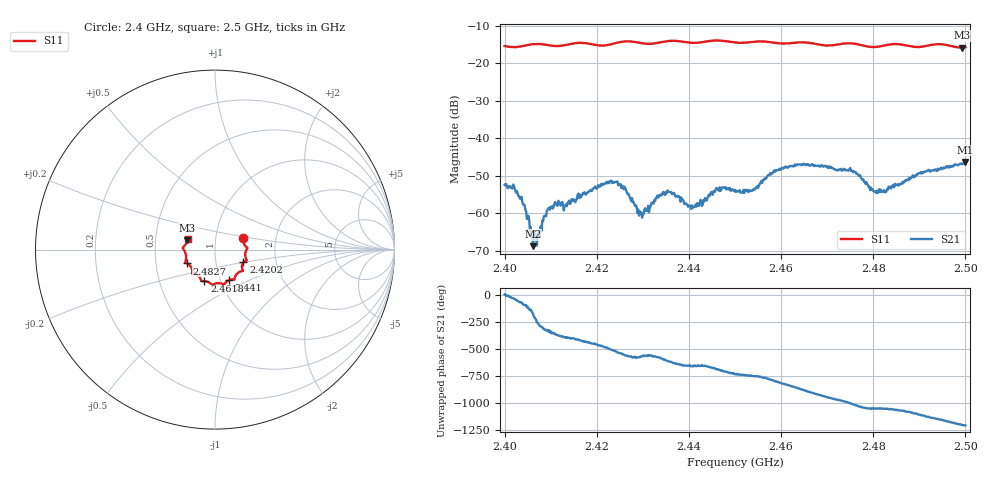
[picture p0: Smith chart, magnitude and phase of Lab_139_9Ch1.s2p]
# Hz S RI R 50
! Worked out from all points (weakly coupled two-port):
!   601 points, 2.4 GHz to 2.5 GHz, reference 50 ohm
!   highest |S21| = -46.31 dB at 2.5 GHz (marker M1); lowest = -68.8 dB at 2.4062 GHz (marker M2)
!   lowest |S11| = -15.8 dB at 2.4993 GHz (marker M3), VSWR 1.39, Z = 36.5 + j3.86 ohm
!   |S11| at or under -10 dB: start of sweep to end of sweep
!   S12 and S22 are empty: the file has one direction only
!   S11 on the Smith chart (normalised r, x): 2.4 GHz: 1.36, +0.18; 2.4202 GHz: 1.36, -0.20; 2.441 GHz: 1.10, -0.39; 2.4618 GHz: 0.84, -0.30; 2.4827 GHz: 0.72, -0.12; 2.5 GHz: 0.73, +0.09
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2.4e9  0.1581 0.0626  0.0024 -3.88e-06  0 0  0 0
2.403167e9  0.1643 0.0263  0.000672 -0.00154  0 0  0 0
2.406167e9  0.1795 0.0109  -0.000364 -1.28e-05  0 0  0 0
2.4075e9  0.1807 0.00815  9.44e-05 0.000471  0 0  0 0
2.409833e9  0.1729 -0.00475  0.00109 0.000231  0 0  0 0
2.416667e9  0.1773 -0.0605  0.00066 -0.00154  0 0  0 0
2.420167e9  0.1583 -0.0712  -0.000585 -0.00216  0 0  0 0
2.424667e9  0.1535 -0.1114  -0.00236 -0.000176  0 0  0 0
2.429667e9  0.1396 -0.123  -0.00086 0.000562  0 0  0 0
2.433333e9  0.1115 -0.1511  -0.0013 0.000962  0 0  0 0
2.435833e9  0.1094 -0.166  -0.000413 0.00188  0 0  0 0
2.441e9  0.0785 -0.1699  0.000615 0.00104  0 0  0 0
2.446167e9  0.0499 -0.1954  0.00172 0.00119  0 0  0 0
2.45e9  0.0283 -0.1871  0.00188 -0.000498  0 0  0 0
2.453833e9  -0.00647 -0.193  0.00173 -0.00106  0 0  0 0
2.461833e9  -0.0593 -0.1755  -0.00205 -0.00375  0 0  0 0
2.466667e9  -0.0784 -0.1683  -0.00452 0.00026  0 0  0 0
2.475333e9  -0.1274 -0.133  0.00104 0.00356  0 0  0 0
2.482667e9  -0.156 -0.0773  0.00168 0.000976  0 0  0 0
2.483333e9  -0.1603 -0.0754  0.00204 0.000971  0 0  0 0
2.499333e9  -0.154 0.0515  -0.00228 -0.00389  0 0  0 0
2.5e9  -0.1522 0.0607  -0.00276 -0.00397  0 0  0 0
